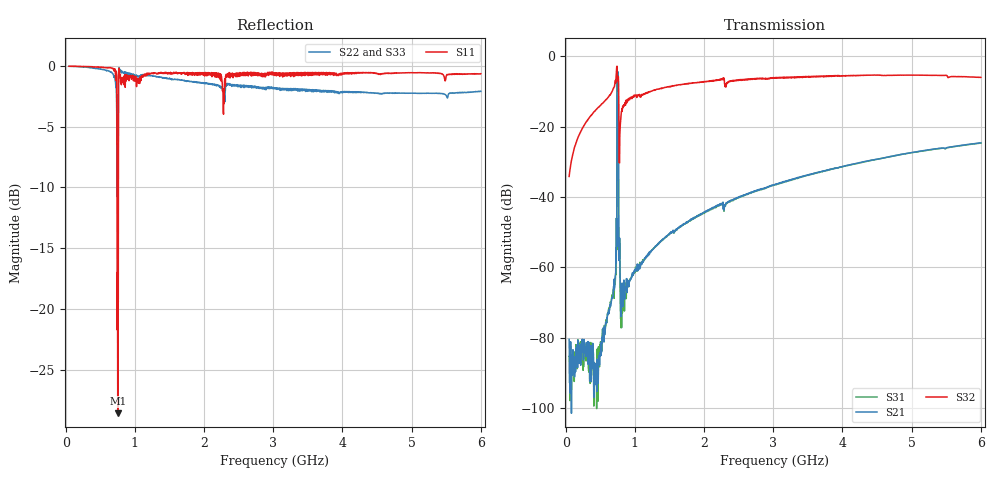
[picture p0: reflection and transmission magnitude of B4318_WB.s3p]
! Matrix data file written by TouchstoneData, EPCOS AG
! FILENAME: "B4318_x14y14_WB.snp"
! COMMENT: "(TS/B4318_x14y14_WB.s3p) Epcos AG 12/21/2012"
! INFO: nport=3, nfreq=1601
! DATE: "Wed Jan 16 17:09:47 2013"
! USER: "Wee Chuan Tay"
! port | pin | signal
!  1  |  1  |  Input
!  2  |  3  |  Output
!  3  |  4  |  Output
# MHZ S RI R 50
! freq  reS11 imS11  reS12 imS12  reS13 imS13  ...
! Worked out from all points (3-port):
!   1601 points, 50 MHz to 6 GHz, reference 50 ohm
!   strongest paths, dB at 50 MHz, 1.538 GHz, 3.025 GHz, 4.513 GHz, 6 GHz:
!     S32: -34.2, -8.5, -6.1, -5.4, -6.0
!     S21: -80.4, -49.9, -36.6, -29.2, -24.6
!     S31: -85.2, -50.0, -36.6, -29.2, -24.7
!   lowest |S11| = -28.6 dB at 752.8 MHz (marker M1), VSWR 1.08, Z = 53.9 - j0.121 ohm
!   |S11| at or under -10 dB: 741.9 MHz to 762.2 MHz (20.26 MHz wide, 2.69 % of centre)
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50  0.9948 -0.083  3.55e-05 8.83e-05  -8.88e-06 5.4e-05
    3.55e-05 8.83e-05  0.998 -0.0423  0.000657 0.0195
    -8.88e-06 5.4e-05  0.000657 0.0195  0.9977 -0.0421
544.594  0.5993 -0.7848  -0.000129 -5.24e-05  -0.000102 -5.36e-05
         -0.000129 -5.24e-05  0.87 -0.422  0.0979 0.1963
         -0.000102 -5.36e-05  0.0979 0.1963  0.8702 -0.4201
700.781  0.1048 -0.9477  -0.000599 -0.000328  -0.000347 -0.000109
         -0.000599 -0.000328  0.7163 -0.5651  0.2339 0.278
         -0.000347 -0.000109  0.2339 0.278  0.7131 -0.5651
730.531  -0.4846 -0.822  -0.00116 -2.15e-06  -0.000824 -0.000415
         -0.00116 -2.15e-06  0.5265 -0.6322  0.4139 0.3233
         -0.000824 -0.000415  0.4139 0.3233  0.5248 -0.6309
752.844  0.0371 -0.00112  -0.5907 0.1098  0.5882 -0.1095
         -0.5907 0.1098  0.5044 -0.1538  0.4426 -0.1473
         0.5882 -0.1095  0.4426 -0.1473  0.5056 -0.1555
797.469  0.6169 -0.5892  -0.000195 -4.26e-05  -0.000194 -4.13e-05
         -0.000195 -4.26e-05  0.8595 -0.422  0.0819 0.1057
         -0.000194 -4.13e-05  0.0819 0.1057  0.8585 -0.4258
819.781  0.5552 -0.701  -0.000395 -0.000119  -0.000143 -0.000178
         -0.000395 -0.000119  0.8332 -0.4602  0.1114 0.1405
         -0.000143 -0.000178  0.1114 0.1405  0.8274 -0.4629
1496.594  -0.1526 -0.9203  -0.00285 -0.000826  -0.00288 -0.000786
          -0.00285 -0.000826  0.5017 -0.7358  0.3124 0.1911
          -0.00288 -0.000786  0.3124 0.1911  0.5059 -0.7343
3025  -0.7482 -0.5264  -0.0142 0.00444  -0.0141 0.00435
      -0.0142 0.00444  -0.0225 -0.8134  0.4932 -0.0289
      -0.0141 0.00435  0.4932 -0.0289  -0.0111 -0.815
6000  -0.9083 0.1989  -0.0222 0.0543  -0.0227 0.0535
      -0.0222 0.0543  -0.6739 -0.4068  0.2485 -0.4325
      -0.0227 0.0535  0.2485 -0.4325  -0.6707 -0.4141
